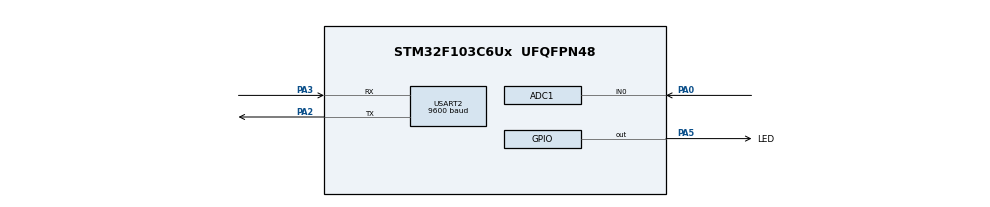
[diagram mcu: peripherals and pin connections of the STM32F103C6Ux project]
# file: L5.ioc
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ADC1.Channel-0\#ChannelRegularConversion=ADC_CHANNEL_0
ADC1.NbrOfConversionFlag=1
ADC1.Rank-0\#ChannelRegularConversion=1
ADC1.SamplingTime-0\#ChannelRegularConversion=ADC_SAMPLETIME_1CYCLE_5
ADC1.master=1
Mcu.Family=STM32F1
Mcu.Name=STM32F103C6Ux
Mcu.Package=UFQFPN48
NVIC.PriorityGroup=NVIC_PRIORITYGROUP_4
NVIC.TIM2_IRQn=true\:0\:0\:false\:false\:true\:true\:true
NVIC.USART2_IRQn=true\:0\:0\:false\:false\:true\:true\:true
PA0-WKUP.Signal=ADCx_IN0
PA2.Mode=Asynchronous
PA2.Signal=USART2_TX
PA3.Mode=Asynchronous
PA3.Signal=USART2_RX
PA5.GPIO_Label=LED
PA5.Signal=GPIO_Output
ProjectManager.HeapSize=0x200
ProjectManager.StackSize=0x400
ProjectManager.TargetToolchain=STM32CubeIDE
RCC.APB1Freq_Value=8000000
RCC.APB2Freq_Value=8000000
SH.ADCx_IN0.0=ADC1_IN0,IN0
TIM2.Period=9
TIM2.Prescaler=7999
USART2.BaudRate=9600
USART2.VirtualMode=VM_ASYNC
VP_SYS_VS_ND.Mode=No_Debug
VP_TIM2_VS_ClockSourceINT.Mode=Internal
board=custom

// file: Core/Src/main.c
/* USER CODE BEGIN Header */
/**
  ******************************************************************************
  * @file           : main.c
  * @brief          : Main program body
  ******************************************************************************
  * @attention
  *
  * <h2><center>&copy; Copyright (c) 2023 STMicroelectronics.
  * All rights reserved.</center></h2>
  *
  * This software component is licensed by ST under BSD 3-Clause license,
  * the "License"; You may not use this file except in compliance with the
  * License. You may obtain a copy of the License at:
  *                        opensource.org/licenses/BSD-3-Clause
  *
  ******************************************************************************
  */
/* USER CODE END Header */
#include "main.h"

/* USER CODE BEGIN Includes */
#include <stdio.h>
#include "FSM.h"
#include "software_timer.h"
/* USER CODE END Includes */

ADC_HandleTypeDef hadc1;

TIM_HandleTypeDef htim2;

UART_HandleTypeDef huart2;

void SystemClock_Config(void);
static void MX_GPIO_Init(void);
static void MX_USART2_UART_Init(void);
static void MX_ADC1_Init(void);
static void MX_TIM2_Init(void);

int main(void)
{

  /* MCU Configuration--------------------------------------------------------*/

  /* Reset of all peripherals, Initializes the Flash interface and the Systick. */
  HAL_Init();

  /* Configure the system clock */
  SystemClock_Config();

  /* Initialize all configured peripherals */
  MX_GPIO_Init();
  MX_USART2_UART_Init();
  MX_ADC1_Init();
  MX_TIM2_Init();
  /* USER CODE BEGIN 2 */
  HAL_TIM_Base_Start_IT(&htim2);
  HAL_UART_Receive_IT(&huart2, &temp, 1);
  HAL_ADC_Start(&hadc1);
  /* USER CODE END 2 */

  /* Infinite loop */
  /* USER CODE BEGIN WHILE */

  setTimer_REPEAT(10);
  setTimer_LED(50);

  while (1){
	  if (buffer_flag){
		  command_parser_fsm();			// đọc lệnh
		  buffer_flag = 0;
	  }
	  uart_communication_fsm();			// UART phản hồi lệnh

	  if (timer_LED_flag){
		  HAL_GPIO_TogglePin(LED_GPIO_Port, LED_Pin);	// chớp tắt đèn LED
		  setTimer_LED(50);
	  }
    /* USER CODE END WHILE */

  }
}

void SystemClock_Config(void)
{
  RCC_OscInitTypeDef RCC_OscInitStruct = {0};
  RCC_ClkInitTypeDef RCC_ClkInitStruct = {0};
  RCC_PeriphCLKInitTypeDef PeriphClkInit = {0};

  /** Initializes the RCC Oscillators according to the specified parameters
  * in the RCC_OscInitTypeDef structure.
  */
  RCC_OscInitStruct.OscillatorType = RCC_OSCILLATORTYPE_HSI;
  RCC_OscInitStruct.HSIState = RCC_HSI_ON;
  RCC_OscInitStruct.HSICalibrationValue = RCC_HSICALIBRATION_DEFAULT;
  RCC_OscInitStruct.PLL.PLLState = RCC_PLL_NONE;
  if (HAL_RCC_OscConfig(&RCC_OscInitStruct) != HAL_OK)
  {
    Error_Handler();
  }
  /** Initializes the CPU, AHB and APB buses clocks
  */
  RCC_ClkInitStruct.ClockType = RCC_CLOCKTYPE_HCLK|RCC_CLOCKTYPE_SYSCLK
                              |RCC_CLOCKTYPE_PCLK1|RCC_CLOCKTYPE_PCLK2;
  RCC_ClkInitStruct.SYSCLKSource = RCC_SYSCLKSOURCE_HSI;
  RCC_ClkInitStruct.AHBCLKDivider = RCC_SYSCLK_DIV1;
  RCC_ClkInitStruct.APB1CLKDivider = RCC_HCLK_DIV1;
  RCC_ClkInitStruct.APB2CLKDivider = RCC_HCLK_DIV1;

  if (HAL_RCC_ClockConfig(&RCC_ClkInitStruct, FLASH_LATENCY_0) != HAL_OK)
  {
    Error_Handler();
  }
  PeriphClkInit.PeriphClockSelection = RCC_PERIPHCLK_ADC;
  PeriphClkInit.AdcClockSelection = RCC_ADCPCLK2_DIV2;
  if (HAL_RCCEx_PeriphCLKConfig(&PeriphClkInit) != HAL_OK)
  {
    Error_Handler();
  }
}

static void MX_ADC1_Init(void)
{

  ADC_ChannelConfTypeDef sConfig = {0};

  /** Common config
  */
  hadc1.Instance = ADC1;
  hadc1.Init.ScanConvMode = ADC_SCAN_DISABLE;
  hadc1.Init.ContinuousConvMode = ENABLE;
  hadc1.Init.DiscontinuousConvMode = DISABLE;
  hadc1.Init.ExternalTrigConv = ADC_SOFTWARE_START;
  hadc1.Init.DataAlign = ADC_DATAALIGN_RIGHT;
  hadc1.Init.NbrOfConversion = 1;
  if (HAL_ADC_Init(&hadc1) != HAL_OK)
  {
    Error_Handler();
  }
  /** Configure Regular Channel
  */
  sConfig.Channel = ADC_CHANNEL_0;
  sConfig.Rank = ADC_REGULAR_RANK_1;
  sConfig.SamplingTime = ADC_SAMPLETIME_1CYCLE_5;
  if (HAL_ADC_ConfigChannel(&hadc1, &sConfig) != HAL_OK)
  {
    Error_Handler();
  }

}

static void MX_TIM2_Init(void)
{

  TIM_ClockConfigTypeDef sClockSourceConfig = {0};
  TIM_MasterConfigTypeDef sMasterConfig = {0};

  htim2.Instance = TIM2;
  htim2.Init.Prescaler = 7999;
  htim2.Init.CounterMode = TIM_COUNTERMODE_UP;
  htim2.Init.Period = 9;
  htim2.Init.ClockDivision = TIM_CLOCKDIVISION_DIV1;
  htim2.Init.AutoReloadPreload = TIM_AUTORELOAD_PRELOAD_DISABLE;
  if (HAL_TIM_Base_Init(&htim2) != HAL_OK)
  {
    Error_Handler();
  }
  sClockSourceConfig.ClockSource = TIM_CLOCKSOURCE_INTERNAL;
  if (HAL_TIM_ConfigClockSource(&htim2, &sClockSourceConfig) != HAL_OK)
  {
    Error_Handler();
  }
  sMasterConfig.MasterOutputTrigger = TIM_TRGO_RESET;
  sMasterConfig.MasterSlaveMode = TIM_MASTERSLAVEMODE_DISABLE;
  if (HAL_TIMEx_MasterConfigSynchronization(&htim2, &sMasterConfig) != HAL_OK)
  {
    Error_Handler();
  }

}

static void MX_USART2_UART_Init(void)
{

  huart2.Instance = USART2;
  huart2.Init.BaudRate = 9600;
  huart2.Init.WordLength = UART_WORDLENGTH_8B;
  huart2.Init.StopBits = UART_STOPBITS_1;
  huart2.Init.Parity = UART_PARITY_NONE;
  huart2.Init.Mode = UART_MODE_TX_RX;
  huart2.Init.HwFlowCtl = UART_HWCONTROL_NONE;
  huart2.Init.OverSampling = UART_OVERSAMPLING_16;
  if (HAL_UART_Init(&huart2) != HAL_OK)
  {
    Error_Handler();
  }

}

static void MX_GPIO_Init(void)
{
  GPIO_InitTypeDef GPIO_InitStruct = {0};

  /* GPIO Ports Clock Enable */
  __HAL_RCC_GPIOA_CLK_ENABLE();

  /*Configure GPIO pin Output Level */
  HAL_GPIO_WritePin(LED_GPIO_Port, LED_Pin, GPIO_PIN_RESET);

  /*Configure GPIO pin : LED_Pin */
  GPIO_InitStruct.Pin = LED_Pin;
  GPIO_InitStruct.Mode = GPIO_MODE_OUTPUT_PP;
  GPIO_InitStruct.Pull = GPIO_NOPULL;
  GPIO_InitStruct.Speed = GPIO_SPEED_FREQ_LOW;
  HAL_GPIO_Init(LED_GPIO_Port, &GPIO_InitStruct);

}

/* USER CODE BEGIN 4 */
void HAL_TIM_PeriodElapsedCallback(TIM_HandleTypeDef *htim){
	timerRun();
}
/* USER CODE END 4 */

void Error_Handler(void)
{
  __disable_irq();
  while (1)
  {
  }
}

/************************ (C) COPYRIGHT STMicroelectronics *****END OF FILE****/
